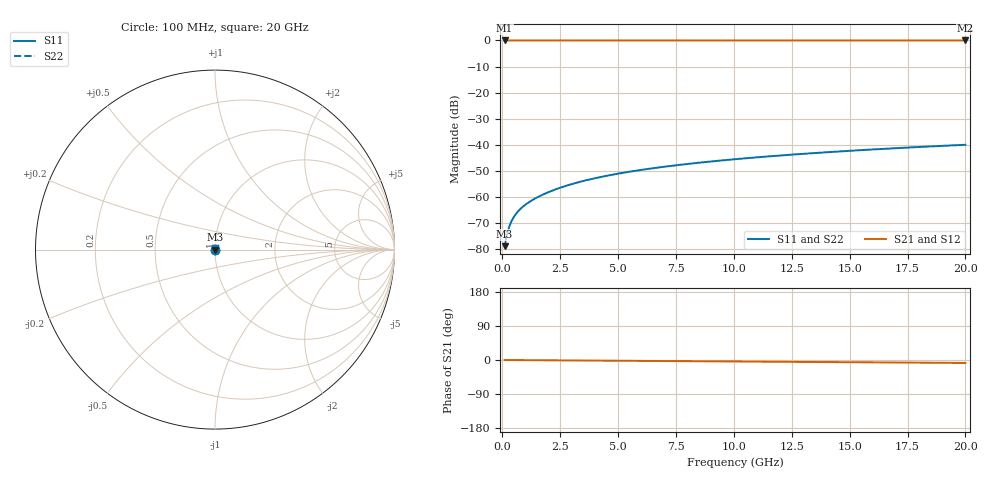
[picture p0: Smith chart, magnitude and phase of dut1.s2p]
! Touchstone file exported from HFSS 2026.1.0
!  File:  C:/ffzhzh/LocalFiles/Ansys_Project_Files/temp_train_TSV_1_1782957761_6388.aedt
!  Generated:  10:04:35 AM Jul  2, 2026
!  Design:  TSV
!  Project:  temp_train_TSV_1_1782957761_6388
! Variables:
!  h_bsmrdl = 2um
!  h_ox = 20um
!  h_rdl = 5um
!  h_sub = 73.51um
!  h_tmrdl = 5um
!  h_tsv = 73.51um
!  h_via = 3um
!  l_bsmrdl = 300um
!  l_sub = 427.7um
!  l_tmrdl = 200um
!  m_sub = 200um
!  pitch = 59.23um
!  r_tsv = 13.85um
!  s_tmrdl = 10um
!  w_bsmrdl = 18um
!  w_sub = 500um
!  w_tmrdl = 12um
!  x_tsv_center1 = 206um
!  x_tsv_center2 = 524um
!  x_tsv_center3 = 736um
!  x_tsv_center4 = 1054um
!  x_tsv_center5 = 1266um
!  x_tsv_center6 = 1584um
# GHz S MA R 50.000000
! Terminal data exported
! Port[1] = TSV1_1_T1
! Port[2] = TSV1_1_T2
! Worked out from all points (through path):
!   200 points, 100 MHz to 20 GHz, reference 50 ohm
!   highest |S21| = 0.00 dB at 100 MHz (marker M1); lowest = 0.0 dB at 20 GHz (marker M2)
!   group delay of S21, straight-line fit = 1.08 ps
!   lowest |S11| = -78.9 dB at 100 MHz (marker M3), VSWR 1.00, Z = 50 + j0.0087 ohm
!   |S11| at or under -10 dB: start of sweep to end of sweep
!   |S22| runs from -78.9 to -40.0 dB; largest |S21 - S12| = 3.3e-15
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0.1  0.0001139 49.8  0.9999 -0.0  0.9999 -0.0  0.0001139 49.8
! Gamma 0 0 0 0
! Port Impedance 50 0 50 0
0.2  0.000191 63.4  0.9999 -0.1  0.9999 -0.1  0.000191 63.4
0.3  0.0002698 67.6  0.9999 -0.1  0.9999 -0.1  0.0002698 67.6
0.4  0.0003446 69.0  0.9999 -0.2  0.9999 -0.2  0.0003446 69.0
0.5  0.0004146 69.6  0.9999 -0.2  0.9999 -0.2  0.0004146 69.6
0.6  0.0004799 69.9  0.9998 -0.2  0.9998 -0.2  0.0004799 69.9
0.7  0.0005415 70.2  0.9998 -0.3  0.9998 -0.3  0.0005415 70.2
0.9  0.0006568 70.8  0.9998 -0.4  0.9998 -0.4  0.0006568 70.8
1.1  0.0007659 71.6  0.9998 -0.4  0.9998 -0.4  0.0007659 71.6
1.3  0.0008722 72.4  0.9997 -0.5  0.9997 -0.5  0.0008722 72.4
1.6  0.00103 73.6  0.9997 -0.6  0.9997 -0.6  0.00103 73.6
1.9  0.001187 74.6  0.9997 -0.7  0.9997 -0.7  0.001187 74.6
2.6  0.001555 76.4  0.9997 -1.0  0.9997 -1.0  0.001555 76.4
3.5  0.002026 77.6  0.9996 -1.4  0.9996 -1.4  0.002026 77.6
4.2  0.002388 78.1  0.9996 -1.6  0.9996 -1.6  0.002388 78.1
5  0.002796 78.5  0.9995 -2.0  0.9995 -2.0  0.002796 78.5
6.8  0.003699 78.9  0.9994 -2.7  0.9994 -2.7  0.003699 78.9
8.3  0.004438 78.9  0.9994 -3.2  0.9994 -3.2  0.004438 78.9
10.1  0.005315 78.9  0.9993 -3.9  0.9993 -3.9  0.005315 78.9
13.4  0.006904 78.4  0.9992 -5.2  0.9992 -5.2  0.006904 78.5
16.7  0.008468 77.7  0.9991 -6.5  0.9991 -6.5  0.008468 77.7
20  0.01 76.8  0.999 -7.8  0.999 -7.8  0.01 76.8
